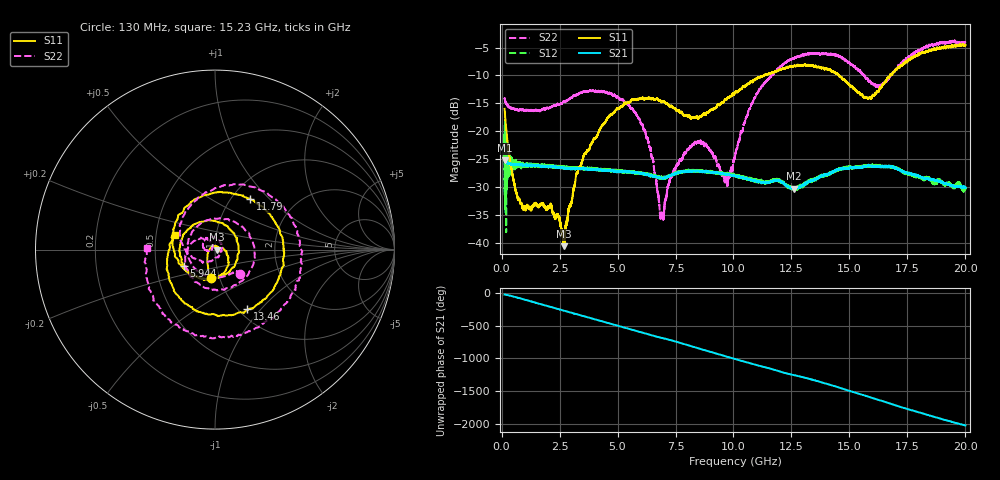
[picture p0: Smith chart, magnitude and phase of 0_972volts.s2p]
!Created with skrf (http://scikit-rf.org).
# GHz S RI R 50.0
!freq ReS11 ImS11 ReS21 ImS21 ReS12 ImS12 ReS22 ImS22
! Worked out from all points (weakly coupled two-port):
!   20013 points, 130 MHz to 20 GHz, reference 50 ohm
!   highest |S21| = -25.23 dB at 132 MHz (marker M1); lowest = -30.3 dB at 12.61 GHz (marker M2)
!   lowest |S11| = -40.6 dB at 2.691 GHz (marker M3), VSWR 1.02, Z = 50.9 - j0.129 ohm
!   |S11| at or under -10 dB: start of sweep to 11.3 GHz; 11.30116 GHz to 11.30756 GHz (6.408 MHz wide, 0.0567 % of centre); 14.55 GHz to 16.74 GHz (2.195 GHz wide, 14 % of centre) (the widest 3 of 11)
!   |S22| runs from -35.9 to -3.7 dB; largest |S21 - S12| = 0.091
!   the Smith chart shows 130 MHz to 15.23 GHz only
!   S11 on the Smith chart (normalised r, x): 130 MHz: 0.91, -0.29; 5.944 GHz: 0.70, -0.13; 11.79 GHz: 1.21, +0.78; 13.46 GHz: 1.09, -0.85; 15.23 GHz: 0.63, +0.11
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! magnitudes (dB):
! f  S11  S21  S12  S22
! 130 MHz  -16.0  -25.3  -24.0  -14.2
! 132 MHz  -16.1  -25.2  -25.1  -14.1
! 758 MHz  -32.3  -26.1  -26.3  -16.1
! 2.084 GHz  -33.4  -26.4  -26.3  -15.7
! 2.691 GHz  -40.6  -26.6  -26.4  -14.7
! 3.442 GHz  -25.8  -26.7  -26.8  -13.1
! 4.621 GHz  -17.3  -27.1  -27.0  -13.1
! 5.944 GHz  -14.2  -27.5  -27.5  -17.8
! 6.754 GHz  -14.3  -28.3  -28.4  -31.5
! 6.927 GHz  -14.7  -28.4  -28.4  -34.8
! 7.375 GHz  -15.7  -27.8  -27.7  -27.5
! 8.38 GHz  -17.5  -27.2  -27.2  -22.1
! 9.68 GHz  -14.3  -27.7  -27.7  -28.4
! 10.06 GHz  -13.0  -28.0  -28.0  -24.6
! 10.84 GHz  -11.0  -28.8  -28.8  -14.7
! 11.79 GHz  -9.3  -28.8  -28.6  -9.3
! 12.61 GHz  -8.3  -30.3  -30.4  -6.9
! 13.38 GHz  -8.2  -28.9  -29.0  -6.1
! 13.46 GHz  -8.4  -28.8  -28.7  -6.0
! 15.23 GHz  -12.5  -26.5  -26.4  -8.4
! 16.69 GHz  -10.4  -26.3  -26.3  -10.6
! 20 GHz  -4.5  -30.1  -30.2  -4.0
